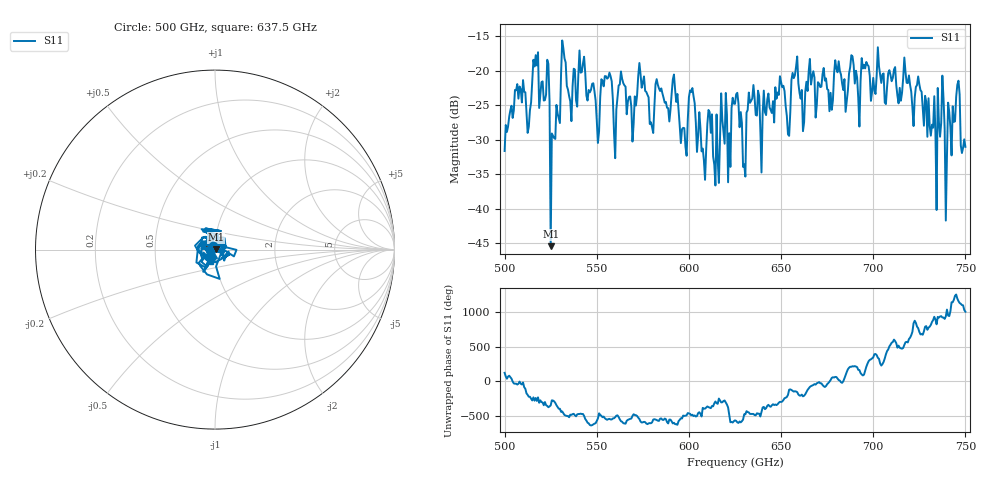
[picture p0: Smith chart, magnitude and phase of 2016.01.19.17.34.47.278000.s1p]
!Created with skrf (http://scikit-rf.org).
# GHz S RI R 50.0
!freq ReS11 ImS11
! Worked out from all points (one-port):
!   401 points, 500 GHz to 750 GHz, reference 50 ohm
!   lowest |S11| = -45.4 dB at 525 GHz (marker M1), VSWR 1.01, Z = 50.5 + j0.0626 ohm
!   |S11| at or under -10 dB: start of sweep to end of sweep
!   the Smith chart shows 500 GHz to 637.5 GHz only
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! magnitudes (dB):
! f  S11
! 500 GHz  -31.7
! 506.9 GHz  -22.0
! 513.1 GHz  -28.1
! 516.9 GHz  -17.8
! 523.1 GHz  -18.4
! 525 GHz  -45.4
! 526.2 GHz  -29.5
! 531.2 GHz  -15.6
! 541.9 GHz  -20.2
! 550.6 GHz  -30.5
! 562.5 GHz  -22.0
! 593.8 GHz  -23.4
! 597.5 GHz  -28.3
! 601.9 GHz  -22.5
! 608.1 GHz  -33.0
! 611.2 GHz  -26.0
! 615 GHz  -26.4
! 625 GHz  -24.8
! 630 GHz  -33.6
! 633.8 GHz  -24.4
! 650.6 GHz  -22.4
! 653.8 GHz  -29.2
! 656.2 GHz  -20.3
! 687.5 GHz  -19.5
! 718.8 GHz  -21.8
! 740 GHz  -32.3
! 745.6 GHz  -22.1
! 750 GHz  -31.0
